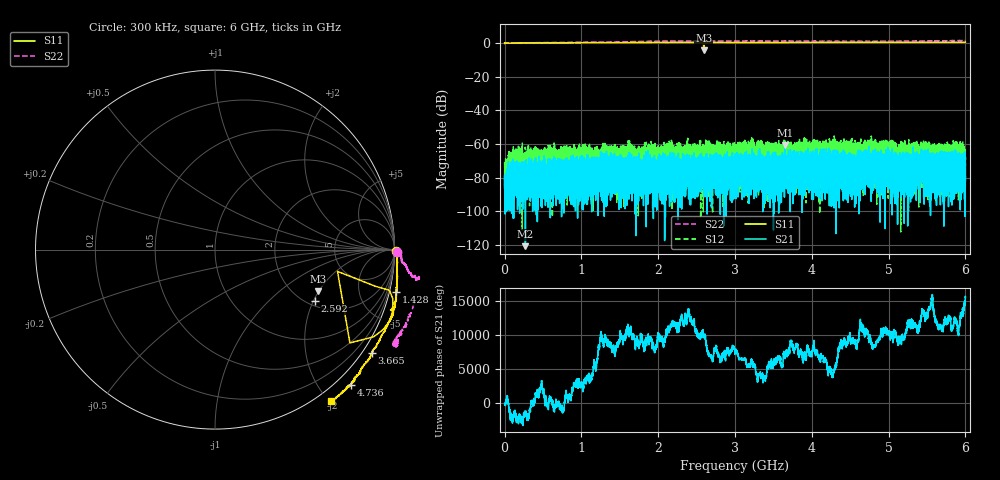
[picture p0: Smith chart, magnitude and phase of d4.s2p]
!Agilent Technologies,N5230C,SG49000117,A.08.50.07
!Agilent N5230C: A.08.50.07
!Date: Thursday, May 16, 2024 17:40:00
!Correction: S11(Full 2 Port(1,2))
!S21(Full 2 Port(1,2))
!S12(Full 2 Port(1,2))
!S22(Full 2 Port(1,2))
!S2P File: Measurements: S11, S21, S12, S22:
# Hz S  MA  R 50
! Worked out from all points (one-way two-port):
!   20001 points, 300 kHz to 6 GHz, reference 50 ohm
!   highest |S21| = -60.73 dB at 3.649 GHz (marker M1); lowest = -120.6 dB at 271.2 MHz (marker M2)
!   lowest |S11| = -4.2 dB at 2.593 GHz (marker M3), VSWR 4.23, Z = 130 - j98 ohm
!   |S11| at or under -10 dB: nowhere
!   |S22| runs from -0.3 to 1.6 dB; largest |S21 - S12| = 0.0019
!   S11 on the Smith chart (normalised r, x): 300 kHz: open; 1.428 GHz: -1.29, -8.40; 2.592 GHz: 2.18, -2.06; 3.665 GHz: -0.28, -3.31; 4.736 GHz: -0.22, -2.40; 6 GHz: -0.16, -2.02
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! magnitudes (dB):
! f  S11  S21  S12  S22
! 300 kHz  0.1  -81.1  -70.7  0.1
! 271.2 MHz  0.1  -120.6  -69.9  0.2
! 1 GHz  0.2  -69.6  -69.1  0.5
! 1.146 GHz  0.3  -92.3  -63.9  0.6
! 1.428 GHz  0.3  -83.4  -67.5  0.8
! 2 GHz  0.4  -73.3  -76.3  1.1
! 2.163 GHz  0.4  -72.8  -72.9  1.2
! 2.592 GHz  -4.1  -74.0  -75.5  1.3
! 2.593 GHz  -4.2  -74.0  -64.1  1.3
! 2.648 GHz  0.4  -73.5  -70.5  1.3
! 2.715 GHz  0.4  -66.9  -62.1  1.3
! 3 GHz  0.4  -71.6  -61.5  1.3
! 3.425 GHz  0.4  -75.7  -58.6  1.2
! 3.649 GHz  0.4  -60.7  -67.0  1.2
! 3.665 GHz  0.4  -71.6  -64.6  1.2
! 4 GHz  0.4  -66.5  -62.9  1.2
! 4.548 GHz  0.6  -77.1  -67.4  1.1
! 4.736 GHz  0.6  -76.7  -63.9  1.0
! 5 GHz  0.5  -73.6  -60.5  1.1
! 5.13 GHz  0.6  -71.6  -71.5  1.1
! 5.889 GHz  0.5  -79.6  -80.6  1.5
! 6 GHz  0.6  -79.3  -73.2  1.5
